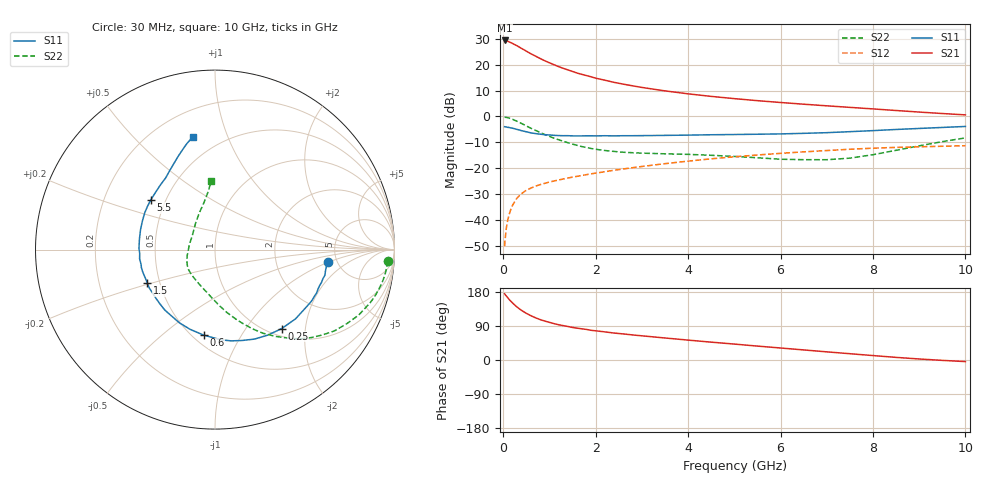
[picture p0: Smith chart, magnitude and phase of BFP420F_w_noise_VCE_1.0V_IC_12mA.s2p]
! Infineon Technologies  Discrete & RF Semiconductors
! BFP420F
! VCE =  1.0 V,  IC =  12 mA
! Common Emitter S-Parameters:  Sep 2011
# GHz  S  MA  R  50
!  f  S11  S21  S12  S22
! GHz  MAG  ANG  MAG  ANG  MAG  ANG  MAG  ANG
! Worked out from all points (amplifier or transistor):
!   54 points, 30 MHz to 10 GHz, reference 50 ohm
!   highest |S21| = 29.4 dB at 30 MHz (marker M1)
!   |S21| within 3 dB of that: start of sweep to 388.7 MHz
!   unconditionally stable (mu >= 1): 1.887 GHz to end of sweep
!   at 120 MHz: K = 0.18, MSG = 33.7 dB, |S12| = -38.5 dB
!   at 1.3 GHz: K = 0.82, MSG = 21.4 dB, |S12| = -24.2 dB
!   at 10 GHz: K = 1.26, MAG = 2.9 dB, |S12| = -11.3 dB
!   lowest NFmin = 1.26 dB at 450 MHz
!   S11 on the Smith chart (normalised r, x): 30 MHz: 4.19, -0.97; 250 MHz: 1.14, -1.50; 600 MHz: 0.57, -0.70; 1.5 GHz: 0.43, -0.19; 5.5 GHz: 0.41, +0.29; 10 GHz: 0.36, +0.76
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0.03  0.6315 -6.3  29.4 174.7  0.0031 88.7  0.9638 -3.8
0.05  0.6267 -10.5  29.04 171.2  0.005 86.3  0.9609 -6.4
0.07  0.6227 -15.1  28.98 168.6  0.0072 84.4  0.9549 -9.1
0.12  0.6113 -25.4  27.93 160.8  0.0119 79.4  0.9316 -15.4
0.2  0.5918 -40.7  25.76 150.9  0.019 73.4  0.8799 -24.5
0.25  0.5759 -49.8  24.37 145.0  0.0226 70.4  0.8412 -29.5
0.3  0.5602 -58.2  23.17 139.8  0.0264 67.6  0.8044 -34.3
0.4  0.5288 -73.2  20.53 130.7  0.0322 63.0  0.7267 -42.4
0.5  0.5042 -86.0  18.26 123.2  0.0373 59.4  0.6549 -49.2
0.6  0.4806 -97.6  16.24 116.8  0.0412 56.9  0.5899 -55.1
0.7  0.4653 -107.4  14.62 111.3  0.0449 55.1  0.5368 -60.2
0.8  0.4535 -116.0  13.15 106.6  0.048 53.9  0.4882 -64.7
0.9  0.4421 -123.2  11.89 102.7  0.0509 53.1  0.4463 -68.7
1.2  0.4262 -140.9  9.152 93.0  0.0591 51.9  0.3535 -79.7
1.5  0.4204 -153.9  7.393 85.8  0.067 51.7  0.2911 -89.1
1.7  0.4201 -160.3  6.5 82.3  0.0721 51.7  0.2612 -95.5
2.4  0.4201 -177.2  4.547 71.1  0.091 51.1  0.2102 -115.4
3.5  0.4296 165.0  3.115 58.1  0.122 48.6  0.1892 -136.3
5.5  0.4523 142.3  2.016 36.7  0.1796 38.6  0.1586 -167.7
7  0.4848 124.6  1.602 21.5  0.219 29.3  0.1455 154.4
8.5  0.5591 111.5  1.301 6.9  0.2517 18.6  0.2211 113.5
10  0.6395 101.1  1.071 -4.2  0.2712 9.9  0.3843 93.1
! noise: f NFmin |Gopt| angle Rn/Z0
0.45  1.26  0.03  161  0.12
0.9  1.26  0.06  135  0.14
1.9  1.4  0.17  170  0.18
2.4  1.46  0.17  173  0.12
3.5  1.72  0.22  -173  0.16
